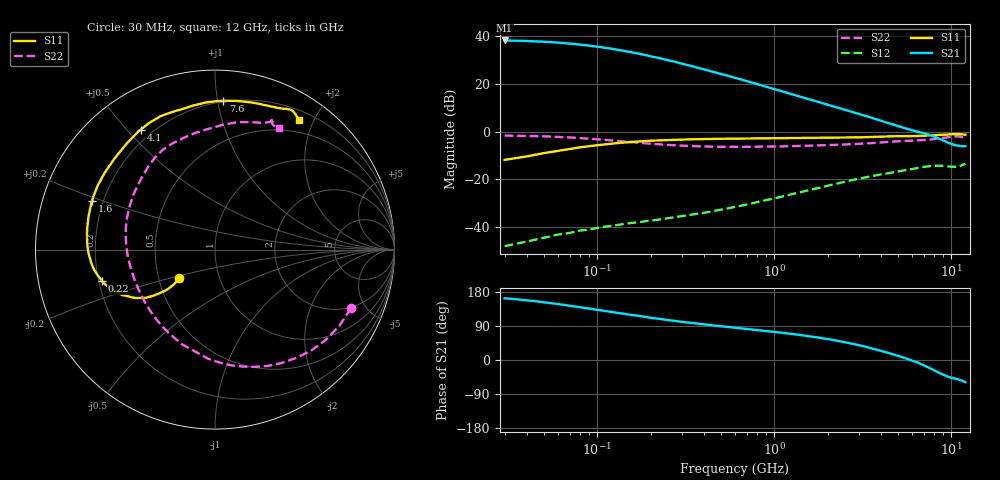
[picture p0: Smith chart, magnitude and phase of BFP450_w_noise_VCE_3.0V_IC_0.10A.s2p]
! (c) 2015  Infineon Technologies AG, Munich
! Infineon Technologies  Discrete & RF Semiconductors
! BFP450
! VCE =  3.0 V,  IC = 0.10 A
! Common Emitter S-Parameters:  Nov 2015
# GHz  S  MA  R  50
!  f  S11  S21  S12  S22
! GHz  MAG  ANG  MAG  ANG  MAG  ANG  MAG  ANG
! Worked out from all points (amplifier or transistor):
!   239 points, 30 MHz to 12 GHz, reference 50 ohm
!   highest |S21| = 38.1 dB at 30 MHz (marker M1)
!   |S21| within 3 dB of that: start of sweep to 109.7 MHz
!   unconditionally stable (mu >= 1): 902.9 MHz to end of sweep
!   at 300 MHz: K = 0.71, MSG = 31.9 dB, |S12| = -35.4 dB
!   at 1.88 GHz: K = 1.09, MAG = 15.7 dB, |S12| = -23.1 dB
!   at 12 GHz: K = 1.08, MAG = 1.9 dB, |S12| = -13.5 dB
!   lowest NFmin = 2.12 dB at 450 MHz
!   S11 on the Smith chart (normalised r, x): 30 MHz: 0.64, -0.22; 220 MHz: 0.21, -0.13; 1.6 GHz: 0.16, +0.19; 4.1 GHz: 0.16, +0.55; 7.6 GHz: 0.19, +1.04; 12 GHz: 0.32, +1.79
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0.03  0.2555 -141.3  80.61 162.9  0.004 80.4  0.8248 -23.4
0.04  0.3018 -139.7  78.46 157.6  0.005 75.7  0.8128 -31.5
0.05  0.3538 -140.2  75.84 152.3  0.006 70.6  0.7961 -39.3
0.06  0.3954 -141.9  72.61 147.8  0.007 69.1  0.7764 -46.6
0.07  0.4324 -143.4  69.31 143.1  0.0076 65.6  0.7533 -53.4
0.085  0.4812 -146.0  64.47 137.6  0.0087 63.3  0.7206 -62.7
0.11  0.539 -150.6  56.97 129.5  0.0102 59.4  0.671 -76.3
0.13  0.5739 -153.8  51.59 124.3  0.0111 57.5  0.6376 -85.6
0.15  0.601 -156.9  46.91 119.8  0.012 56.0  0.6091 -93.6
0.2  0.6446 -162.8  37.58 111.3  0.0137 55.0  0.5582 -109.5
0.22  0.6528 -164.5  34.98 109.2  0.0143 55.1  0.543 -114.0
0.24  0.6616 -166.2  32.44 106.7  0.015 55.2  0.5314 -118.8
0.3  0.6819 -170.3  26.4 100.7  0.0169 55.8  0.5077 -130.3
0.36  0.6924 -173.5  22.26 96.5  0.0188 56.9  0.4937 -138.4
0.6  0.7119 178.0  13.29 85.1  0.0265 60.1  0.4786 -158.7
1  0.7236 169.0  7.719 74.1  0.04 60.8  0.487 -175.5
1.6  0.737 158.3  4.65 62.3  0.0604 56.9  0.5071 169.1
1.64  0.7377 157.6  4.532 61.6  0.0617 56.5  0.5084 168.2
4.1  0.7863 121.7  1.637 22.7  0.1287 28.6  0.5956 128.0
4.5  0.7957 117.3  1.463 17.3  0.1366 24.6  0.6119 123.3
7.6  0.8305 86.8  0.838 -22.2  0.1895 -8.6  0.68 91.0
12  0.8601 57.1  0.495 -58.6  0.2121 -40.6  0.7648 62.2
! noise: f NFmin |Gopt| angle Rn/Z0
0.45  2.12  0.64  -172  0.07
0.9  2.18  0.66  -166  0.08
1.9  2.27  0.68  -150  0.16
2.4  2.36  0.67  -140  0.24
